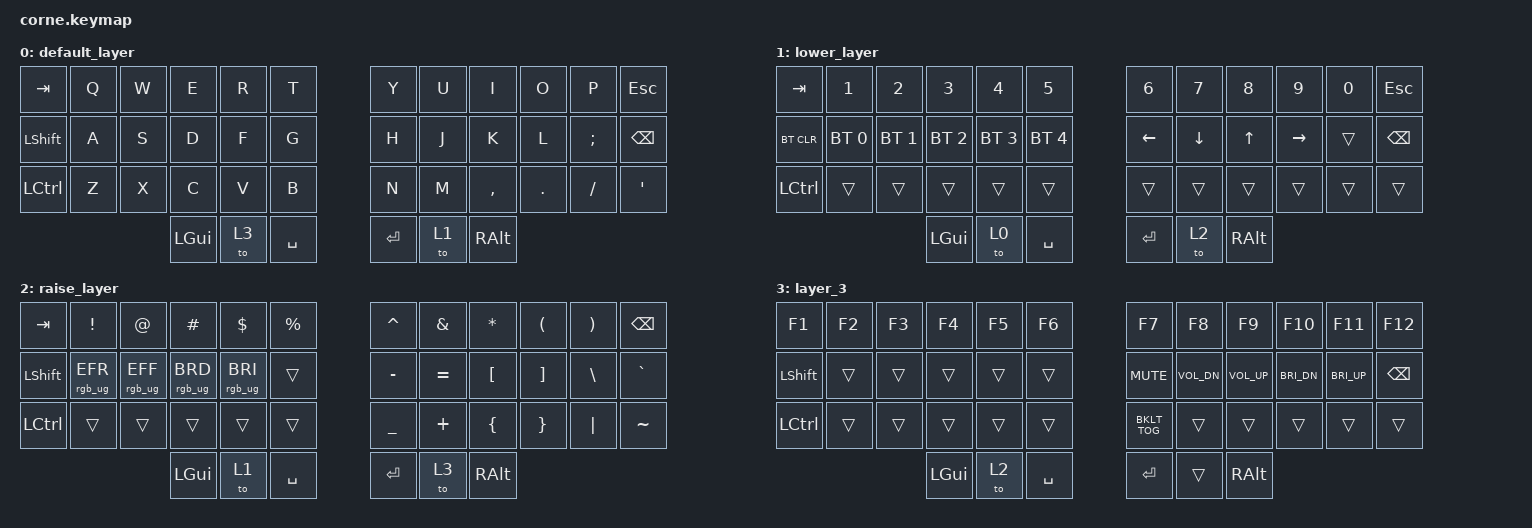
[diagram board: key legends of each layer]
/*
 * Copyright (c) 2020 The ZMK Contributors
 *
 * SPDX-License-Identifier: MIT
 */

#include <behaviors.dtsi>
#include <dt-bindings/zmk/bt.h>
#include <dt-bindings/zmk/keys.h>
#include <dt-bindings/zmk/rgb.h>

/ {
    keymap {
        compatible = "zmk,keymap";

        default_layer {
            // -----------------------------------------------------------------------------------------
            // |  TAB |  Q  |  W  |  E  |  R  |  T  |   |  Y  |  U   |  I  |  O  |  P  | BKSP |
            // | CTRL |  A  |  S  |  D  |  F  |  G  |   |  H  |  J   |  K  |  L  |  ;  |  '   |
            // | SHFT |  Z  |  X  |  C  |  V  |  B  |   |  N  |  M   |  ,  |  .  |  /  | ESC  |
            //                    | GUI | LWR | SPC |   | ENT | RSE  | ALT |

            bindings = <
&kp TAB    &kp Q  &kp W  &kp E     &kp R  &kp T        &kp Y    &kp U  &kp I      &kp O    &kp P     &kp ESCAPE
&kp LSHFT  &kp A  &kp S  &kp D     &kp F  &kp G        &kp H    &kp J  &kp K      &kp L    &kp SEMI  &kp BACKSPACE
&kp LCTRL  &kp Z  &kp X  &kp C     &kp V  &kp B        &kp N    &kp M  &kp COMMA  &kp DOT  &kp FSLH  &kp SQT
                         &kp LGUI  &to 3  &kp SPACE    &kp RET  &to 1  &kp RALT
            >;
        };

        lower_layer {
            // -----------------------------------------------------------------------------------------
            // |  TAB |  1  |  2  |  3  |  4  |  5  |   |  6  |  7  |  8  |  9  |  0  | BKSP |
            // | BTCLR| BT1 | BT2 | BT3 | BT4 | BT5 |   | LFT | DWN |  UP | RGT |     |      |
            // | SHFT |     |     |     |     |     |   |     |     |     |     |     |      |
            //                    | GUI |     | SPC |   | ENT |     | ALT |

            bindings = <
&kp TAB     &kp N1        &kp N2        &kp N3        &kp N4        &kp N5          &kp N6    &kp N7    &kp N8    &kp N9     &kp N0  &kp ESCAPE
&bt BT_CLR  &bt BT_SEL 0  &bt BT_SEL 1  &bt BT_SEL 2  &bt BT_SEL 3  &bt BT_SEL 4    &kp LEFT  &kp DOWN  &kp UP    &kp RIGHT  &trans  &kp BACKSPACE
&kp LCTRL   &trans        &trans        &trans        &trans        &trans          &trans    &trans    &trans    &trans     &trans  &trans
                                        &kp LGUI      &to 0         &kp SPACE       &kp RET   &to 2     &kp RALT
            >;
        };

        raise_layer {
            // -----------------------------------------------------------------------------------------
            // |  TAB |  !  |  @  |  #  |  $  |  %  |   |  ^  |  &  |  *  |  (  |  )  | BKSP |
            // | CTRL |     |     |     |     |     |   |  -  |  =  |  [  |  ]  |  \  |  `   |
            // | SHFT |     |     |     |     |     |   |  _  |  +  |  {  |  }  | "|" |  ~   |
            //                    | GUI |     | SPC |   | ENT |     | ALT |

            bindings = <
&kp TAB    &kp EXCL         &kp AT           &kp HASH         &kp DLLR         &kp PRCNT    &kp CARET  &kp AMPS   &kp ASTRK  &kp LPAR  &kp RPAR  &kp BSPC
&kp LSHFT  &rgb_ug RGB_EFR  &rgb_ug RGB_EFF  &rgb_ug RGB_BRD  &rgb_ug RGB_BRI  &trans       &kp MINUS  &kp EQUAL  &kp LBKT   &kp RBKT  &kp BSLH  &kp GRAVE
&kp LCTRL  &trans           &trans           &trans           &trans           &trans       &kp UNDER  &kp PLUS   &kp LBRC   &kp RBRC  &kp PIPE  &kp TILDE
                                             &kp LGUI         &to 1            &kp SPACE    &kp RET    &to 3      &kp RALT
            >;
        };

        layer_3 {
            bindings = <
&kp F1     &kp F2       &kp F3      &kp F4        &kp F5  &kp F6       &kp F7          &kp F8        &kp F9           &kp F10       &kp F11       &kp F12
&kp LSHFT  &trans       &trans      &trans        &trans  &trans       &kp K_MUTE      &kp C_VOL_DN  &kp C_VOLUME_UP  &kp C_BRI_DN  &kp C_BRI_UP  &kp BSPC
&kp LCTRL  &trans       &trans      &trans        &trans  &trans       &kp C_BKLT_TOG  &trans        &trans           &trans        &trans        &trans
                                    &kp LEFT_GUI  &to 2   &kp SPACE    &kp ENTER       &trans        &kp RALT
            >;
        };
    };
};
